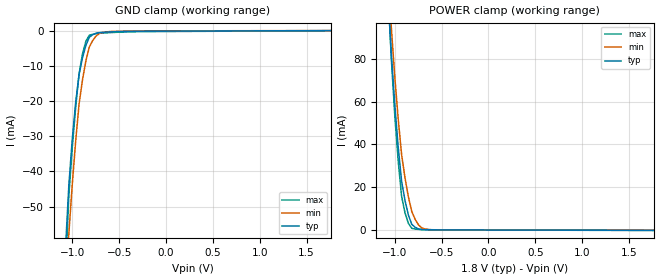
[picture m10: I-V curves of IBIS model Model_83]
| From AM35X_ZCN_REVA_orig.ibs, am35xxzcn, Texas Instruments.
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| Model based on original model for IQ1833DVTPBFZP18LL_7LM
|   Sub model _7LM_!PI_PUPDSEL_1P8
[model]   Model_83
|[Description]  1.8V-INPUT-PU-X
|[Input Load]   PU
|[Output Drive]
|Voltage   1.8V
|Mode   INPUT
Model_type   Input
Polarity   Non-Inverting
Vinl =  0.63V
Vinh =  1.17V
C_comp   1.254226p   1.200533p   1.264851p
[Model Spec]
Vinl   0.63V   0.567V   0.693V
Vinh   1.17V   1.053V   1.287V
[Temperature Range]   25   125   -40
[Voltage Range]   1.8   1.62   1.98
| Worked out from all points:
|   GND clamp passes 1 mA (typ) near -0.77 V on its own axis
|   POWER clamp passes 1 mA (typ) near -0.77 V on its own axis
[POWER_clamp]
-1.8V     812.4mA    848.7mA    874.7mA
-1.073V   110mA      121.8mA    111.3mA
-1.036V   81.9mA     94.32mA    79.73mA
-1V       58.64mA    71.64mA    53.7mA
-963.6mV  38.96mA    51.98mA    32.38mA
-927.3mV  22.86mA    35.33mA    15.77mA
-890.9mV  13.75mA    24.36mA    8.087mA
-854.5mV  7.001mA    15.45mA    3.086mA
-818.2mV  2.61mA     8.596mA    770.5uA
-745.5mV  458.2uA    2.315mA    265.9uA
-636.4mV  113.9uA    201.3uA    155uA
1.764V    -143.5uA   -79.91uA   -225.9uA
[GND_clamp]
-1.8V     -593.4mA   -494.6mA   -853.4mA
-1.073V   -62.22mA   -74.18mA   -68.37mA
-1.036V   -43.86mA   -57.7mA    -46.78mA
-1V       -30.86mA   -43.69mA   -33.26mA
-963.6mV  -20.39mA   -31.4mA    -21.75mA
-927.3mV  -12.46mA   -20.82mA   -12.26mA
-890.9mV  -7.709mA   -13.96mA   -6.656mA
-854.5mV  -4.183mA   -8.582mA   -3.011mA
-818.2mV  -1.883mA   -4.688mA   -1.321mA
-745.5mV  -733uA     -1.51mA    -854.7uA
-600mV    -384uA     -274.9uA   -579.4uA
1.764V    -2.901uA   6.404uA    -27.37uA
